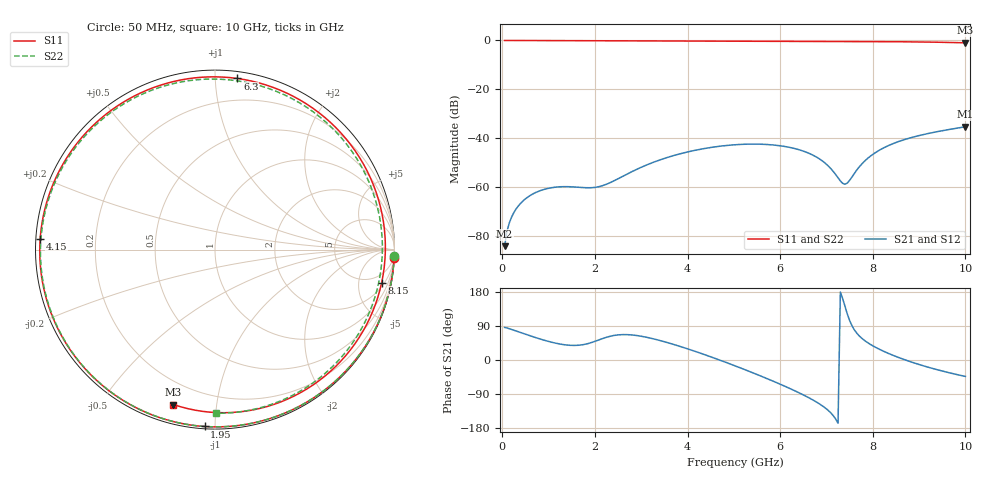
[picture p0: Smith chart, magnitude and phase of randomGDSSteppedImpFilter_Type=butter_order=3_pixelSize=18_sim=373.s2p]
! freq	dB(S11)	phase(S11)	dB(S12)	phase(S12)
!  dB(S21)	phase(S21)	dB(S22)	phase(S22)
!S-par simulation data
#  GHz  S  DB  R 50
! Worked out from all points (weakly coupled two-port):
!   200 points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, 50 MHz to 10 GHz, reference 50 ohm
!   highest |S21| = -35.39 dB at 10 GHz (marker M1); lowest = -84.3 dB at 50 MHz (marker M2)
!   lowest |S11| = -1.0 dB at 10 GHz (marker M3), VSWR 17.82, Z = 4.45 - j38.2 ohm
!   |S11| at or under -10 dB: nowhere
!   |S22| runs from -0.8 to 0.0 dB; largest |S21 - S12| = 0
!   S11 on the Smith chart (normalised r, x): 50 MHz: 1, -44; 1.95 GHz: 0.01, -0.94; 4.15 GHz: 0.01, +0.03; 6.3 GHz: 0.05, +1.14; 8.15 GHz: 2.69, -9.48; 10 GHz: 0.09, -0.76
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0.05  -0.01 -2.6  -84.35 85.9  -84.35 85.9  -0.01 -2.1
0.3  -0.02 -15.2  -69.03 76.4  -69.03 76.4  -0.02 -12.5
0.6  -0.03 -30.2  -63.59 63.9  -63.59 63.9  -0.03 -24.8
1.2  -0.07 -59.2  -60.06 43.2  -60.06 43.2  -0.06 -48.9
1.75  -0.10 -84.5  -60.34 40.6  -60.34 40.6  -0.09 -70.2
1.95  -0.11 -93.3  -60.35 47.0  -60.35 47.0  -0.09 -77.7
2.6  -0.14 -121.0  -55.72 67.0  -55.72 67.0  -0.12 -101.4
3.4  -0.17 -153.5  -49.00 51.6  -49.00 51.6  -0.16 -129.5
4.15  -0.21 176.6  -45.09 23.4  -45.09 23.4  -0.20 -155.5
5.05  -0.26 139.4  -42.74 -16.5  -42.74 -16.5  -0.26 171.9
5.7  -0.30 110.8  -42.64 -48.2  -42.64 -48.2  -0.32 146.0
6.3  -0.34 82.5  -44.25 -80.3  -44.25 -80.3  -0.38 119.1
6.7  -0.36 62.9  -46.95 -105.0  -46.95 -105.0  -0.42 99.2
7  -0.38 47.8  -50.77 -129.1  -50.77 -129.1  -0.46 83.1
7.4  -0.41 27.3  -58.95 141.8  -58.95 141.8  -0.50 60.2
7.8  -0.44 6.7  -49.93 53.6  -49.93 53.6  -0.55 35.9
8.15  -0.48 -11.2  -44.91 27.9  -44.91 27.9  -0.58 14.1
8.35  -0.50 -21.3  -43.01 16.8  -43.01 16.8  -0.60 1.7
8.75  -0.57 -41.5  -40.27 -1.9  -40.27 -1.9  -0.64 -22.7
9.2  -0.67 -64.0  -38.14 -19.2  -38.14 -19.2  -0.70 -48.6
9.6  -0.80 -84.1  -36.67 -32.2  -36.67 -32.2  -0.75 -69.9
10  -0.98 -105.0  -35.39 -43.4  -35.39 -43.4  -0.80 -89.5
